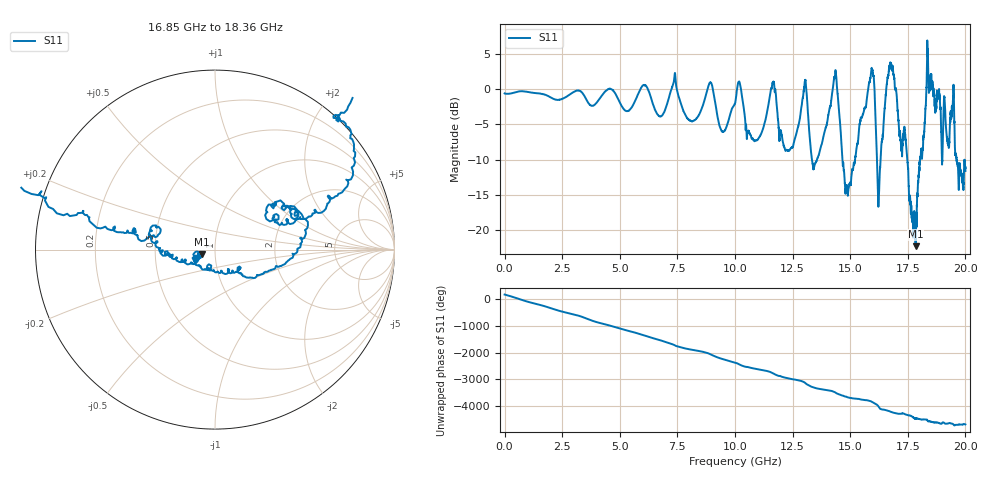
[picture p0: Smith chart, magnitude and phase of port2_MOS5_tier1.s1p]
! Created with skrf 1.8.0 (http://scikit-rf.org).
# GHz S RI R 50.0
!freq ReS11 ImS11
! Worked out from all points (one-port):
!   10001 points, 1 MHz to 20 GHz, reference 50 ohm
!   lowest |S11| = -22.2 dB at 17.84 GHz (marker M1), VSWR 1.17, Z = 43.2 - j2.28 ohm
!   |S11| at or under -10 dB: 14.67 GHz to 15.21 GHz (545.4 MHz wide, 3.65 % of centre); 17.48 GHz to 18.03 GHz (555.8 MHz wide, 3.13 % of centre); 19.62 GHz to end of sweep (the widest 3 of 6)
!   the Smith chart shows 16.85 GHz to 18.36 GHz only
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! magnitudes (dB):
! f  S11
! 1 MHz  -0.6
! 2.501 GHz  -1.4
! 5.001 GHz  -1.9
! 7.501 GHz  -0.4
! 8.175 GHz  -4.5
! 8.947 GHz  0.9
! 9.481 GHz  -6.1
! 10 GHz  -2.1
! 10.2 GHz  0.9
! 10.92 GHz  -7.3
! 11.67 GHz  1.0
! 12.13 GHz  -8.2
! 12.5 GHz  -8.3
! 13.04 GHz  0.9
! 13.48 GHz  -10.5
! 14.34 GHz  1.7
! 14.75 GHz  -12.3
! 15 GHz  -13.2
! 15.94 GHz  2.9
! 16.26 GHz  -14.1
! 16.77 GHz  3.5
! 17.5 GHz  -10.8
! 17.84 GHz  -22.2
! 18.42 GHz  -0.4
! 19.23 GHz  -7.6
! 19.43 GHz  -2.9
! 19.64 GHz  -10.4
! 20 GHz  -11.6
